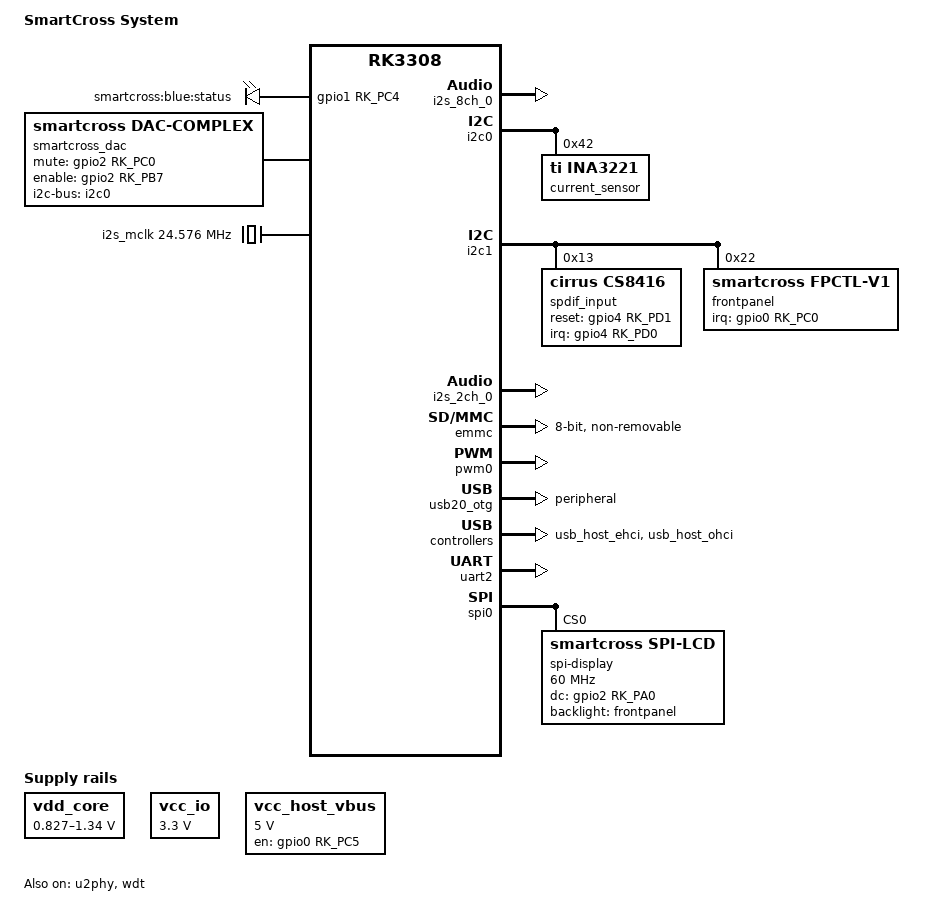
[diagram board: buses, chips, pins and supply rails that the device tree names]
// SPDX-License-Identifier: (GPL-2.0+ OR MIT)
/*
 * Copyright (c) 2021 Yunhao Tian
 */

/dts-v1/;

#include <dt-bindings/input/input.h>
#include <dt-bindings/usb/pd.h>
#include "rk3308.dtsi" 

/ {
	model = "SmartCross System";
	compatible = "t123yh,smartcross", "rockchip,rk3308";
	chosen {
		stdout-path = "serial2:1500000n8";
	};

	aliases {
		mmc0 = &emmc;
		serial2 = &uart2;
	};

	vdd_core: vdd-core {
		compatible = "pwm-regulator";
		pwms = <&pwm0 0 5000 1>;
		regulator-name = "vdd_core";
		regulator-min-microvolt = <827000>;
		regulator-max-microvolt = <1340000>;
		regulator-init-microvolt = <1015000>;
		regulator-always-on;
		regulator-boot-on;
		regulator-settling-time-up-us = <250>;
		status = "okay";
	};

	vcc_io: vcc-io {
		compatible = "regulator-fixed";
		regulator-name = "vcc_3v3";
		regulator-min-microvolt = <3300000>;
		regulator-max-microvolt = <3300000>;
		regulator-always-on;
		regulator-boot-on;
	};

	vcc_host_vbus: host-vbus-regulator {
		compatible = "regulator-fixed";
		enable-active-high;
		gpio = <&gpio0 RK_PC5 GPIO_ACTIVE_HIGH>;
		pinctrl-names = "default";
		pinctrl-0 = <&host_vbus_drv>;
		regulator-name = "vcc_host_vbus";
		regulator-min-microvolt = <5000000>;
		regulator-max-microvolt = <5000000>;
	};

	gpio-leds {
		compatible = "gpio-leds";
		status = "okay";

		status-led {
			label = "smartcross:blue:status";
			gpios = <&gpio1 RK_PC4 GPIO_ACTIVE_HIGH>;
			linux,default-trigger = "heartbeat";
			default-state = "on";
		};
	};

	sound-output {
		status = "okay";
		compatible = "simple-audio-card";
		simple-audio-card,name = "SmartCross";

		#address-cells = <1>;
		#size-cells = <0>;

        simple-audio-card,dai-link@0 {
            reg = <0>;
            format = "i2s";
            cpu {
                sound-dai = <&i2s_8ch_0 0>;
            };
            codec {
                sound-dai = <&smartcross_dac 0>;
            };
        };
        simple-audio-card,dai-link@1 {
            reg = <1>;
            format = "i2s";
            cpu {
                sound-dai = <&i2s_8ch_0 0>;
            };
            codec {
                sound-dai = <&smartcross_dac 1>;
            };
        };
        simple-audio-card,dai-link@2 {
            reg = <2>;
            format = "i2s";
            cpu {
                sound-dai = <&i2s_8ch_0 0>;
            };
            codec {
                sound-dai = <&smartcross_dac 2>;
            };
        };
        simple-audio-card,dai-link@3 {
            reg = <3>;
            format = "i2s";
            cpu {
                sound-dai = <&i2s_8ch_0 0>;
            };
            codec {
                sound-dai = <&smartcross_dac 3>;
            };
        };
	};

	sound-spdif-rx {
		status = "okay";
		compatible = "simple-audio-card";
		simple-audio-card,name = "SPDIFReceiver";
		simple-audio-card,format = "i2s";
        simple-audio-card,bitclock-master = <&spdif_input>;
        simple-audio-card,frame-master = <&spdif_input>;

		simple-audio-card,cpu {
			sound-dai = <&i2s_2ch_0>;
		};
		simple-audio-card,codec {
			sound-dai = <&spdif_input>;
		};
	};



	smartcross_dac: smartcross-dac {
		#sound-dai-cells = <1>;
		compatible = "smartcross,dac-complex";
		pinctrl-names = "default";
		pinctrl-0 = <&amp_pin_ctrl>;
		mute-gpios = <&gpio2 RK_PC0 GPIO_ACTIVE_HIGH>;
		enable-gpios = <&gpio2 RK_PB7 GPIO_ACTIVE_HIGH>;
		i2c-bus = <&i2c0>;
		ma120x0p,default-pmp = <2>;
	};
	
	i2s_mclk: fixed-24576 {
		compatible = "fixed-clock";
		#clock-cells = <0>;
		clock-frequency = <24576000>;
		clock-accuracy = <20000>;
		clock-output-names = "mclk_i2s0_8ch_in";
	};
};

&pinctrl {
	amps {
		amp_pin_ctrl: amp-ctrl {
			rockchip,pins =
				<2 RK_PB7 0 &pcfg_pull_none_8ma>,
				<2 RK_PC0 0 &pcfg_pull_none_8ma>;
		};
	};

	display-pins {
		display_pin_ctrl: display-pin-ctrl {
			// DC pin
			rockchip,pins = <2 RK_PA0 0 &pcfg_pull_none_8ma>;
		};
	};
};

&i2s_8ch_0 {
	#sound-dai-cells = <1>;
	pinctrl-names = "default";
	pinctrl-0 = <&i2s_8ch_0_sclktx
				&i2s_8ch_0_lrcktx
				&i2s_8ch_0_sdo0
				&i2s_8ch_0_sdo1
				&i2s_8ch_0_sdo2
				&i2s_8ch_0_mclk
				&i2s_8ch_0_sdo3>;

	clocks = <&cru SCLK_I2S0_8CH_TX>, <&cru SCLK_I2S0_8CH_RX>, <&cru HCLK_I2S0_8CH>;
	clock-names = "mclk_tx", "mclk_rx", "hclk";

	assigned-clocks = <&cru SCLK_I2S0_8CH_TX_MUX>;
	assigned-clock-parents = <&i2s_mclk>;

	status = "okay";
};

&i2c0 {
	status = "okay";

	current_sensor: ina3221@42 {
		compatible = "ti,ina3221";
		reg = <0x42>;
		#address-cells = <1>;
		#size-cells = <0>;
		input_1 {
			reg = <0x0>;
			label = "VIN";
			shunt-resistor-micro-ohms = <12000>;
		};
		input_2 {
			reg = <0x1>;
			label = "5V_A";
			shunt-resistor-micro-ohms = <12000>;
		};
		input_3 {
			reg = <0x2>;
			label = "5V_D";
			shunt-resistor-micro-ohms = <12000>;
		};
	};
};

&i2c1 {
	status = "okay";

	spdif_input: cs8416@13 {
		#sound-dai-cells = <0>;
		reg = <0x13>;
		compatible = "cirrus,cs8416";
		reset-gpios = <&gpio4 RK_PD1 GPIO_ACTIVE_HIGH>;
		irq-gpios = <&gpio4 RK_PD0 GPIO_ACTIVE_HIGH>;
		pinctrl-names = "default";
		pinctrl-0 = <&cs8416_pins>;
		cirrus,gpio1-sel = <0x2>; // interrupt
		clocks = <&i2s_mclk>;
		clock-names = "omck";
	};

	frontpanel: fpctrl@22 {
		#sound-dai-cells = <0>;
		reg = <0x22>;
		compatible = "smartcross,fpctl-v1";
		irq-gpios = <&gpio0 RK_PC0 GPIO_ACTIVE_HIGH>;
		pinctrl-names = "default";
		pinctrl-0 = <&fpctl_irq_pin>;
	};
};

&cpu0 {
	cpu-supply = <&vdd_core>;
};

&i2s_2ch_0 {
	#sound-dai-cells = <0>;
	status = "okay";
};

&emmc {
	bus-width = <8>;
	cap-mmc-highspeed;
	mmc-hs200-1_8v;
	supports-emmc;
	disable-wp;
	non-removable;
	num-slots = <1>;
	status = "okay";
};

&pinctrl {
	pinctrl-names = "default";

	usb {
		host_vbus_drv: host-vbus-drv {
			rockchip,pins = <0 RK_PC5 RK_FUNC_GPIO &pcfg_pull_none>;
		};
	};

	spdifrx-pins {
		cs8416_pins: cs8416-pins {
			rockchip,pins = <4 RK_PD1 RK_FUNC_GPIO &pcfg_pull_down>, <4 RK_PD0 RK_FUNC_GPIO &pcfg_pull_down>;
		};
	};

	fpctl-pins {
		fpctl_irq_pin: fpctl-pins {
			rockchip,pins = <0 RK_PC0 RK_FUNC_GPIO &pcfg_pull_down>;
		};
	};
};

&pwm0 {
	status = "okay";
	pinctrl-names = "active";
	pinctrl-0 = <&pwm0_pin_pull_down>;
};

&u2phy {
	status = "okay";

	u2phy_host: host-port {
		status = "okay";
		phy-supply = <&vcc_host_vbus>;
	};

	u2phy_otg: otg-port {
		status = "okay";
	};
};

&usb20_otg {
	dr_mode = "peripheral";
	status = "okay";
};

&usb_host_ehci {
	status = "okay";
};

&usb_host_ohci{
	status = "okay";
};

&uart2 {
        status = "okay";
        pinctrl-names = "default";
        pinctrl-0 = <&uart2m1_xfer>;
};

&spi0 {
	status = "okay";
	pinctrl-names = "default";
	pinctrl-0 = <&spi0_clk &spi0_csn0 &spi0_mosi>;

	spi-display@0{
		compatible = "smartcross,spi-lcd";
		reg = <0>;
		spi-max-frequency = <60000000>;
		pinctrl-names = "default";
		pinctrl-0 = <&display_pin_ctrl>;
		dc-gpios = <&gpio2 RK_PA0 GPIO_ACTIVE_HIGH>;
		rotation = <90>;
		backlight = <&frontpanel>;
	};
};

&wdt {
        status = "okay";
};

